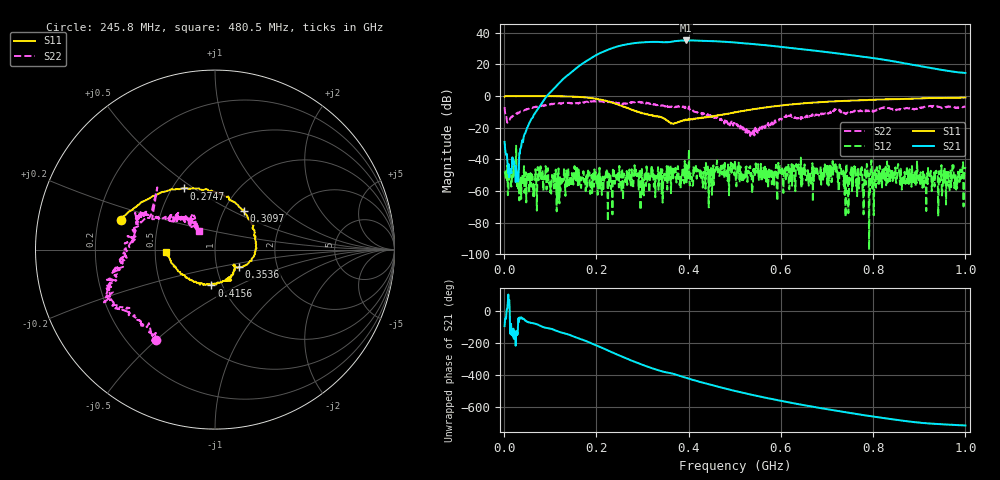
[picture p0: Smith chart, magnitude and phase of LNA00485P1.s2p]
! Created with skrf 1.9.0 (http://scikit-rf.org).
# Hz S RI R 50.0
!freq ReS11 ImS11 ReS21 ImS21 ReS12 ImS12 ReS22 ImS22
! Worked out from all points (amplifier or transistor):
!   1001 points, 1 MHz to 1 GHz, reference 50 ohm
!   highest |S21| = 35.2 dB at 394.6 MHz (marker M1)
!   |S21| within 3 dB of that: 256.6 MHz to 565.9 MHz (309.3 MHz wide, 75.2 % of centre)
!   unconditionally stable (mu >= 1): 207 MHz to 282.6 MHz; 282.8 MHz to 391.6 MHz; 401 MHz to end of sweep (the widest 3 of 46)
!   at 166.8 MHz: K = 2.57, MAG = 32.0 dB, |S12| = -58.1 dB
!   at 500.5 MHz: K = 1.16, MAG = 34.9 dB, |S12| = -40.8 dB
!   at 1 GHz: K = 2.67, MAG = 22.6 dB, |S12| = -44.7 dB
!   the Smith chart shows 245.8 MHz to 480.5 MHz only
!   S11 on the Smith chart (normalised r, x): 245.8 MHz: 0.30, +0.14; 274.7 MHz: 0.57, +0.46; 309.7 MHz: 1.24, +0.57; 353.6 MHz: 1.28, -0.26; 415.6 MHz: 0.89, -0.37; 480.5 MHz: 0.57, -0.01
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1000000  0.9676 -0.00145  -0.00226 -0.0357  -0.00185 0.00376  0.3803 0.243
1.08892e8  0.5255 -0.8477  -0.8368 -1.582  0.00214 0.00315  0.4354 -0.3741
1.67833e8  -0.228 -0.9016  -10.2 -0.589  0.00191 -0.0019  0.0495 -0.6362
2.1079e8  -0.6678 -0.374  -15.97 17.89  0.00121 -0.00146  -0.2044 -0.6543
2.27773e8  -0.6614 -0.0902  -10.12 28.52  -0.000713 -0.00137  -0.2747 -0.5993
2.45755e8  -0.5216 0.166  1.906 37.13  -0.00198 -0.00292  -0.3302 -0.5015
2.74726e8  -0.1725 0.3409  28.3 35.67  -0.00126 -0.000846  -0.5233 -0.3334
3.09691e8  0.1618 0.2143  49.97 11.34  -0.00394 0.0013  -0.5862 -0.1662
3.34666e8  0.2253 0.00255  50.62 -10.35  -0.000676 0.000861  -0.5313 -0.0561
3.53647e8  0.1349 -0.0974  45.37 -21.65  0.000421 -0.00103  -0.4877 0.0751
3.72628e8  0.1082 -0.0919  43.3 -34.31  0.000308 0.00253  -0.4417 0.1723
3.94606e8  0.0787 -0.1534  29.69 -49.2  -0.00538 -0.00157  -0.412 0.1507
4.15585e8  -0.0199 -0.1996  13.2 -55.57  0.00181 0.00663  -0.2444 0.1932
4.45555e8  -0.1609 -0.1566  -10.26 -54.24  -0.000491 0.00133  -0.1458 0.169
4.8052e8  -0.271 -0.0113  -31.03 -41.87  0.003 -0.000677  -0.0899 0.1025
5.005e8  -0.2958 0.0999  -38.65 -31.32  0.00593 0.00698  -0.0664 0.12
5.4046e8  -0.2334 0.3078  -42.98 -9.709  0.00387 -0.0031  -0.0651 -0.000461
5.88412e8  -0.0507 0.4792  -36.02 10.94  0.0038 -0.000151  -0.123 -0.0804
6.67333e8  0.3207 0.5308  -14.07 23.99  0.0011 -0.0033  -0.2327 -0.0601
7.53247e8  0.6247 0.3653  3.761 19.28  -0.00621 1.89e-05  -0.3151 0.0194
8.34166e8  0.7809 0.1412  9.629 9.231  -0.0054 -0.0016  -0.4196 0.0556
1e9  0.8132 -0.3898  5.412 0.1986  -0.00362 -0.00452  -0.2216 0.4118
